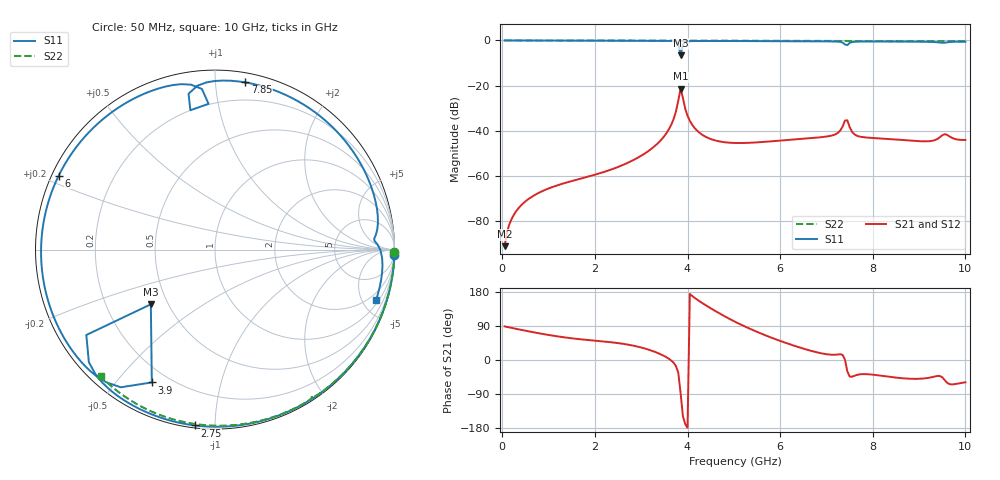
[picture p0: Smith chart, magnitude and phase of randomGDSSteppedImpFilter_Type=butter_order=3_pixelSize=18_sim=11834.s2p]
! freq	dB(S11)	phase(S11)	dB(S12)	phase(S12)
!  dB(S21)	phase(S21)	dB(S22)	phase(S22)
!S-par simulation data
#  GHz  S  DB  R 50
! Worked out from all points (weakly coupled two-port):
!   200 points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, 50 MHz to 10 GHz, reference 50 ohm
!   highest |S21| = -21.40 dB at 3.85 GHz (marker M1); lowest = -91.1 dB at 50 MHz (marker M2)
!   lowest |S11| = -6.6 dB at 3.85 GHz (marker M3), VSWR 2.77, Z = 20.1 - j15.7 ohm
!   |S11| at or under -10 dB: nowhere
!   |S22| runs from -0.4 to 0.0 dB; largest |S21 - S12| = 0
!   S11 on the Smith chart (normalised r, x): 50 MHz: 0, -63; 2.75 GHz: 0.01, -0.89; 3.9 GHz: 0.14, -0.62; 6 GHz: 0.02, +0.22; 7.85 GHz: 0.07, +1.19; 10 GHz: 1.29, -6.28
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0.05  -0.00 -1.8  -91.09 88.7  -91.09 88.7  -0.00 -0.8
0.75  -0.03 -27.2  -67.87 71.4  -67.87 71.4  -0.01 -11.4
1.75  -0.08 -62.4  -60.87 53.9  -60.87 53.9  -0.03 -26.4
2.75  -0.12 -96.6  -53.78 39.8  -53.78 39.8  -0.05 -41.0
3.4  -0.17 -119.3  -44.70 16.2  -44.70 16.2  -0.07 -50.2
3.65  -0.25 -130.4  -37.23 -1.5  -37.23 -1.5  -0.08 -53.8
3.8  -1.30 -146.4  -26.70 -33.4  -26.70 -33.4  -0.11 -56.1
3.85  -6.56 -139.6  -21.40 -86.7  -21.40 -86.7  -0.20 -56.6
3.9  -1.73 -115.4  -25.44 -148.5  -25.44 -148.5  -0.13 -56.7
4.05  -0.31 -132.8  -35.60 174.4  -35.60 174.4  -0.09 -59.0
4.25  -0.23 -142.0  -40.73 155.7  -40.73 155.7  -0.09 -61.8
5.05  -0.26 -170.8  -45.40 99.5  -45.40 99.5  -0.11 -72.6
6  -0.32 154.7  -44.34 50.4  -44.34 50.4  -0.15 -84.8
6.7  -0.38 126.9  -43.18 23.1  -43.18 23.1  -0.18 -93.5
7.2  -0.48 104.2  -41.50 14.0  -41.50 14.0  -0.21 -99.6
7.45  -2.06 100.0  -35.35 -29.5  -35.35 -29.5  -0.23 -102.6
7.6  -0.60 92.9  -41.51 -41.7  -41.51 -41.7  -0.23 -104.4
7.85  -0.48 79.8  -42.96 -37.3  -42.96 -37.3  -0.25 -107.4
8.35  -0.47 56.2  -43.64 -44.2  -43.64 -44.2  -0.29 -113.2
9.15  -0.58 18.8  -44.67 -48.1  -44.67 -48.1  -0.36 -122.5
9.55  -1.01 3.1  -41.51 -52.4  -41.51 -52.4  -0.40 -127.1
10  -0.53 -17.4  -44.06 -58.8  -44.06 -58.8  -0.44 -132.2
